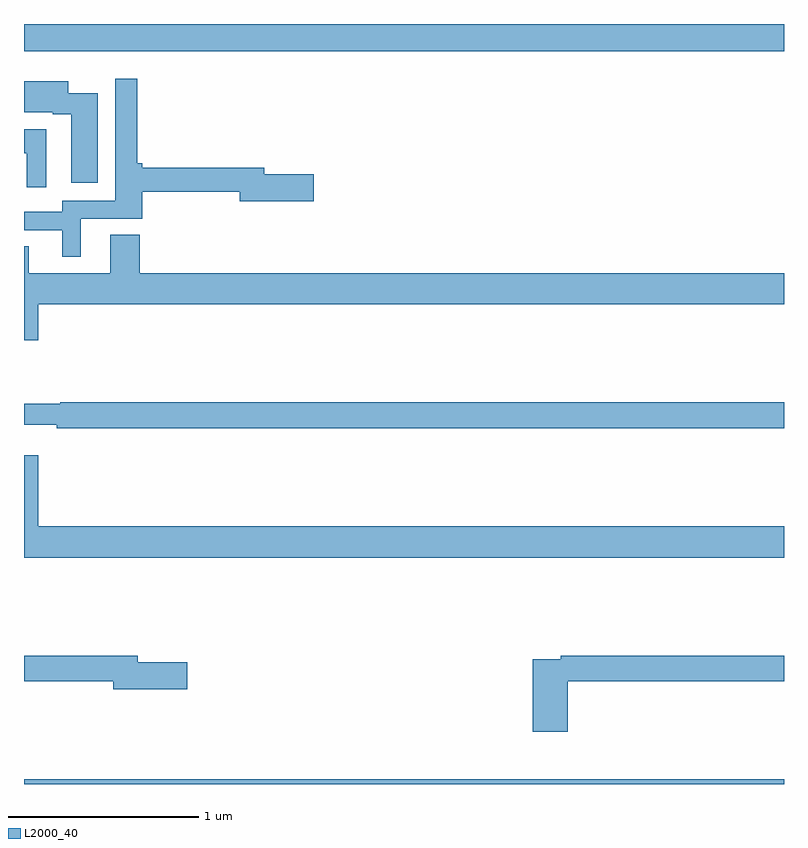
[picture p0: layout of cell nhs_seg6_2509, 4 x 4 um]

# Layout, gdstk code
import gdstk
lib = gdstk.Library(unit=1e-6, precision=1e-09)
def R(c, l, rs):  # rectangles x0, y0, x1, y1
    for r in rs: c.add(gdstk.rectangle(r[:2], r[2:], *l))
def P(c, l, *ps):  # polygons
    for p in ps: c.add(gdstk.Polygon(p, *l))
L2000_40 = (2000, 40)

nhs_seg6_2509 = lib.new_cell('nhs_seg6_2509')
R(nhs_seg6_2509, L2000_40, [(261,923.5,265,923.524), (261,927.356,265,927.5)])
P(nhs_seg6_2509, L2000_40, [(261.298,926.475),(261.623,926.475),(261.623,926.616),(262.136,926.616),(262.136,926.566),(262.525,926.566),(262.525,926.708),(262.264,926.708),(262.264,926.744),(261.623,926.744),(261.623,926.768),(261.596,926.768),(261.596,927.211),(261.48,927.211),(261.48,926.571),(261.201,926.571),(261.201,926.511),(261,926.511),(261,926.415),(261.2,926.415),(261.2,926.274),(261.298,926.274)],
  [(261.388,927.135),(261.232,927.135),(261.232,927.199),(261,927.199),(261,927.036),(261.152,927.036),(261.152,927.024),(261.248,927.024),(261.248,926.664),(261.388,926.664)],
  [(261.118,926.947),(261,926.947),(261,926.819),(261.014,926.819),(261.014,926.64),(261.118,926.64)],
  [(261.076,926.024),(265,926.024),(265,926.188),(261.608,926.188),(261.608,926.39),(261.455,926.39),(261.455,926.188),(261.025,926.188),(261.025,926.33),(261,926.33),(261,925.836),(261.076,925.836)],
  [(265,925.508),(261.19,925.508),(261.19,925.501),(261,925.501),(261,925.391),(261.172,925.391),(261.172,925.372),(265,925.372)],
  [(265,924.856),(261.076,924.856),(261.076,925.231),(261,925.231),(261,924.692),(265,924.692)],
  [(261.859,924.14),(261.598,924.14),(261.598,924.176),(261,924.176),(261,924.04),(261.47,924.04),(261.47,923.998),(261.859,923.998)],
  [(263.861,924.04),(265,924.04),(265,924.176),(263.824,924.176),(263.824,924.156),(263.678,924.156),(263.678,923.775),(263.861,923.775)])

lib.write_gds('nhs_seg6_2509.gds')
